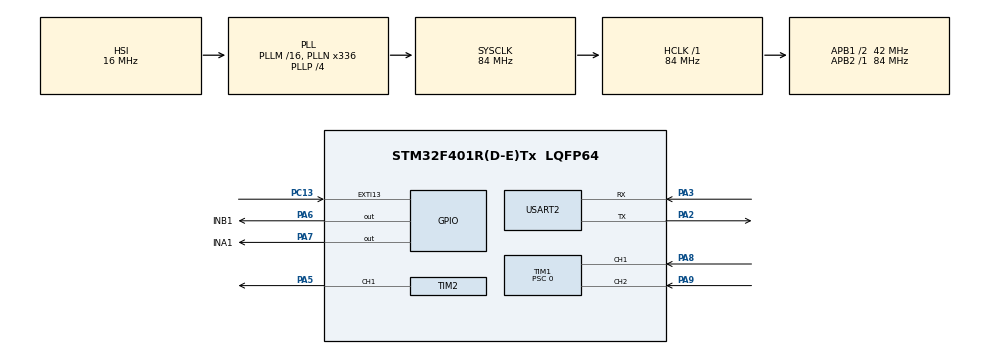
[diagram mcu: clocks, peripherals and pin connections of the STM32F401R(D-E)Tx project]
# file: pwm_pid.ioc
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Mcu.Family=STM32F4
Mcu.Name=STM32F401R(D-E)Tx
Mcu.Package=LQFP64
NVIC.PriorityGroup=NVIC_PRIORITYGROUP_0
NVIC.TIM1_BRK_TIM9_IRQn=true\:0\:0\:false\:false\:true\:true
NVIC.TIM1_CC_IRQn=true\:0\:0\:false\:false\:true\:true
NVIC.TIM1_TRG_COM_TIM11_IRQn=true\:0\:0\:false\:false\:true\:true
NVIC.TIM1_UP_TIM10_IRQn=true\:0\:0\:false\:false\:true\:true
NVIC.TIM3_IRQn=true\:0\:0\:false\:false\:true\:true
PA13.Mode=Serial_Wire
PA13.Signal=SYS_JTMS-SWDIO
PA14.Mode=Serial_Wire
PA14.Signal=SYS_JTCK-SWCLK
PA2.GPIO_Mode=GPIO_MODE_AF_PP
PA2.GPIO_PuPd=GPIO_PULLUP
PA2.GPIO_Speed=GPIO_SPEED_FREQ_VERY_HIGH
PA2.Mode=Asynchronous
PA2.Signal=USART2_TX
PA3.GPIO_Mode=GPIO_MODE_AF_PP
PA3.GPIO_PuPd=GPIO_PULLUP
PA3.GPIO_Speed=GPIO_SPEED_FREQ_VERY_HIGH
PA3.Mode=Asynchronous
PA3.Signal=USART2_RX
PA5.Signal=S_TIM2_CH1_ETR
PA6.GPIO_Label=INB1
PA6.Signal=GPIO_Output
PA7.GPIO_Label=INA1
PA7.Signal=GPIO_Output
PA8.GPIO_ModeDefaultPP=GPIO_MODE_AF_PP
PA8.GPIO_PuPd=GPIO_PULLUP
PA8.GPIO_Speed=GPIO_SPEED_FREQ_LOW
PA8.Signal=S_TIM1_CH1
PA9.GPIO_ModeDefaultPP=GPIO_MODE_AF_PP
PA9.GPIO_PuPd=GPIO_PULLUP
PA9.GPIO_Speed=GPIO_SPEED_FREQ_LOW
PA9.Signal=S_TIM1_CH2
PB3.Signal=SYS_JTDO-SWO
PC13-ANTI_TAMP.GPIO_ModeDefaultEXTI=GPIO_MODE_IT_RISING
PC13-ANTI_TAMP.GPIO_PuPd=GPIO_NOPULL
PC13-ANTI_TAMP.Signal=GPXTI13
PC14-OSC32_IN.Mode=LSE-External-Oscillator
PC14-OSC32_IN.Signal=RCC_OSC32_IN
PC15-OSC32_OUT.Mode=LSE-External-Oscillator
PC15-OSC32_OUT.Signal=RCC_OSC32_OUT
PH0\ -\ OSC_IN.Mode=HSE-External-Clock-Source
PH0\ -\ OSC_IN.Signal=RCC_OSC_IN
PH1\ -\ OSC_OUT.Mode=HSE-External-Clock-Source
PH1\ -\ OSC_OUT.Signal=RCC_OSC_OUT
ProjectManager.HeapSize=0x200
ProjectManager.StackSize=0x400
ProjectManager.TargetToolchain=TrueSTUDIO
RCC.48MHZClocksFreq_Value=48000000
RCC.AHBFreq_Value=84000000
RCC.APB1CLKDivider=RCC_HCLK_DIV2
RCC.APB1Freq_Value=42000000
RCC.APB1TimFreq_Value=84000000
RCC.APB2Freq_Value=84000000
RCC.APB2TimFreq_Value=84000000
RCC.CortexFreq_Value=84000000
RCC.HCLKFreq_Value=84000000
RCC.HSE_VALUE=8000000
RCC.HSI_VALUE=16000000
RCC.PLLN=336
RCC.PLLP=RCC_PLLP_DIV4
RCC.PLLQ=7
RCC.SYSCLKFreq_VALUE=84000000
RCC.SYSCLKSource=RCC_SYSCLKSOURCE_PLLCLK
RCC.VCOOutputFreq_Value=336000000
SH.S_TIM1_CH1.0=TIM1_CH1,Encoder_Interface
SH.S_TIM1_CH2.0=TIM1_CH2,Encoder_Interface
SH.S_TIM2_CH1_ETR.0=TIM2_CH1,PWM Generation1 CH1
TIM1.EncoderMode=TIM_ENCODERMODE_TI12
TIM1.IC2Filter=6
TIM1.Period=65535
TIM1.Prescaler=0
TIM2.Channel-PWM\ Generation1\ CH1=TIM_CHANNEL_1
TIM2.Period=1050
TIM2.Prescaler=3
TIM3.Period=4000
TIM3.Prescaler=21
USART2.VirtualMode=VM_ASYNC
VP_TIM3_VS_ClockSourceINT.Mode=Internal
board=NUCLEO-F401RE

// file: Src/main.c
/* USER CODE BEGIN Header */
/**
 ******************************************************************************
 * @file           : main.c
 * @brief          : Main program body
 ******************************************************************************
 ** This notice applies to any and all portions of this file
 * that are not between comment pairs USER CODE BEGIN and
 * USER CODE END. Other portions of this file, whether
 * inserted by the user or by software development tools
 * are owned by their respective copyright owners.
 *
 * COPYRIGHT(c) 2019 STMicroelectronics
 *
 * Redistribution and use in source and binary forms, with or without modification,
 * are permitted provided that the following conditions are met:
 *   1. Redistributions of source code must retain the above copyright notice,
 *      this list of conditions and the following disclaimer.
 *   2. Redistributions in binary form must reproduce the above copyright notice,
 *      this list of conditions and the following disclaimer in the documentation
 *      and/or other materials provided with the distribution.
 *   3. Neither the name of STMicroelectronics nor the names of its contributors
 *      may be used to endorse or promote products derived from this software
 *      without specific prior written permission.
 *
 * THIS SOFTWARE IS PROVIDED BY THE COPYRIGHT HOLDERS AND CONTRIBUTORS "AS IS"
 * AND ANY EXPRESS OR IMPLIED WARRANTIES, INCLUDING, BUT NOT LIMITED TO, THE
 * IMPLIED WARRANTIES OF MERCHANTABILITY AND FITNESS FOR A PARTICULAR PURPOSE ARE
 * DISCLAIMED. IN NO EVENT SHALL THE COPYRIGHT HOLDER OR CONTRIBUTORS BE LIABLE
 * FOR ANY DIRECT, INDIRECT, INCIDENTAL, SPECIAL, EXEMPLARY, OR CONSEQUENTIAL
 * DAMAGES (INCLUDING, BUT NOT LIMITED TO, PROCUREMENT OF SUBSTITUTE GOODS OR
 * SERVICES; LOSS OF USE, DATA, OR PROFITS; OR BUSINESS INTERRUPTION) HOWEVER
 * CAUSED AND ON ANY THEORY OF LIABILITY, WHETHER IN CONTRACT, STRICT LIABILITY,
 * OR TORT (INCLUDING NEGLIGENCE OR OTHERWISE) ARISING IN ANY WAY OUT OF THE USE
 * OF THIS SOFTWARE, EVEN IF ADVISED OF THE POSSIBILITY OF SUCH DAMAGE.
 *
 ******************************************************************************
 */
/* USER CODE END Header */

#include "main.h"
#include "tim.h"
#include "usart.h"
#include "gpio.h"

/* USER CODE BEGIN Includes */
#include "parser.h"
/* USER CODE END Includes */

/* USER CODE BEGIN PD */
#define DIRECTION_CW 1
#define DIRECTION_CCW 0
#define DEG_TO_INC_COEFF 9.977333
#define INC_TO_DEG_COEFF 0.1002271816
#define ERROR_TOLERANCE_INC 10
#define DEFAULT_ENC_COUNTER_VALUE 20000
/* USER CODE END PD */

/* USER CODE BEGIN PV */
static volatile int32_t position = 0;
static volatile int32_t error = 0;
static volatile int32_t reference = 3592;
static volatile int32_t u = 0;
static volatile int32_t ui = 0; //Integration part of control
static volatile uint8_t direction = DIRECTION_CW;
static volatile uint8_t prev_direction = DIRECTION_CW;
static const float Ts = 0.001; //Sampling period
static volatile const float kp = 0.6;
static volatile const float Ti = 1000.0;
static volatile float ki = 0;
static float angle = 720.0;
static const unsigned int pwm_period = 1050;

static uint8_t finish_flag = 0;
/* USER CODE END PV */

void SystemClock_Config(void);
/* USER CODE BEGIN PFP */
void dc_set_direction(uint8_t direction);

/* USER CODE END PFP */

int main(void)
{

  /* MCU Configuration--------------------------------------------------------*/

  /* Reset of all peripherals, Initializes the Flash interface and the Systick. */
  HAL_Init();

  /* Configure the system clock */
  SystemClock_Config();

  /* Initialize all configured peripherals */
  MX_GPIO_Init();
  MX_USART2_UART_Init();
  MX_TIM1_Init();
  MX_TIM3_Init();
  MX_TIM2_Init();
  /* USER CODE BEGIN 2 */
	HAL_TIM_Encoder_Start(&htim1, TIM_CHANNEL_1);
	HAL_TIM_Encoder_Start(&htim1, TIM_CHANNEL_2);
	HAL_TIM_PWM_Start(&htim2, TIM_CHANNEL_1);

	// Set Encoder count to middle value
	TIM1->CNT = DEFAULT_ENC_COUNTER_VALUE;

	ki = 0;	//kp / Ti;

	//Enable regulation interrupt
	HAL_TIM_Base_Start_IT(&htim3);
  /* USER CODE END 2 */

  /* Infinite loop */
  /* USER CODE BEGIN WHILE */
	char p[30] = "";
	char a[30] = "";
	char c[30] = "";

	uint8_t uart_receive_buff[50];
	uint8_t uart_rec_buff_offset = 0;
	uint8_t msg[20] = ""; // @TODO Delete later

	reference = (int32_t) (angle * DEG_TO_INC_COEFF);

	for (int i = 0; i < 50; i++)
	{
		uart_receive_buff[i] = 0;
	}

//	__HAL_TIM_SetCompare(&htim2, TIM_CHANNEL_1, 500);

//	HAL_GPIO_WritePin(GPIOA, INA1_Pin, GPIO_PIN_RESET);
//	HAL_GPIO_WritePin(GPIOA, INB1_Pin, GPIO_PIN_SET);

	while (1)
	{

		/*
		 HAL_UART_Transmit(&huart2, &primer, sizeof(primer), 50);
		 HAL_Delay(1000);
		 */

		snprintf(p, sizeof(p), "\n\ru: %d", u);
		HAL_UART_Transmit(&huart2, p, sizeof(p), 50);
		snprintf(a, sizeof(a), "\n\r%f", ((float) error * INC_TO_DEG_COEFF));
		HAL_UART_Transmit(&huart2, a, sizeof(a), 50);
		snprintf(c, sizeof(c), "\n\rcnt: %d", TIM1->CNT);
		HAL_UART_Transmit(&huart2, c, sizeof(c), 50);

		HAL_Delay(200);
		/*
		 if (HAL_UART_Receive(&huart2, uart_receive_buff + uart_rec_buff_offset,
		 1, 20) == HAL_OK) {

		 HAL_UART_Transmit(&huart2, uart_receive_buff + uart_rec_buff_offset,
		 1, 50);

		 if (uart_receive_buff[uart_rec_buff_offset] == '\n') {

		 uart_receive_buff[uart_rec_buff_offset] = '\0';
		 //msg_parse(uart_receive_buff);
		 strcpy(msg, uart_receive_buff);
		 uart_rec_buff_offset = 0;
		 //HAL_UART_Transmit(&huart2, msg, sizeof(msg), 50);

		 }

		 else
		 uart_rec_buff_offset++;
		 }
		 */
		//HAL_UART_Transmit(&huart2, p, sizeof(p), 50);
		//HAL_UART_Transmit(&huart2, p, sizeof(p), 50);
		//__HAL_TIM_SetCompare(&htim2, TIM_CHANNEL_1, 0);
		//test this
		/*
		 cnts = __HAL_TIM_GET_COUNTER(&htim1);

		 if (cnts != cnts_old) {
		 snprintf(p, sizeof(p), "cnts: %d\n\r", cnts);

		 HAL_UART_Transmit(&huart2, p, strlen(p), 50);

		 cnts_old = cnts;
		 }
		 HAL_Delay(200);
		 */

    /* USER CODE END WHILE */

	}
}

void SystemClock_Config(void)
{
  RCC_OscInitTypeDef RCC_OscInitStruct = {0};
  RCC_ClkInitTypeDef RCC_ClkInitStruct = {0};

  /**Configure the main internal regulator output voltage
  */
  __HAL_RCC_PWR_CLK_ENABLE();
  __HAL_PWR_VOLTAGESCALING_CONFIG(PWR_REGULATOR_VOLTAGE_SCALE2);
  /**Initializes the CPU, AHB and APB busses clocks
  */
  RCC_OscInitStruct.OscillatorType = RCC_OSCILLATORTYPE_HSI;
  RCC_OscInitStruct.HSIState = RCC_HSI_ON;
  RCC_OscInitStruct.HSICalibrationValue = RCC_HSICALIBRATION_DEFAULT;
  RCC_OscInitStruct.PLL.PLLState = RCC_PLL_ON;
  RCC_OscInitStruct.PLL.PLLSource = RCC_PLLSOURCE_HSI;
  RCC_OscInitStruct.PLL.PLLM = 16;
  RCC_OscInitStruct.PLL.PLLN = 336;
  RCC_OscInitStruct.PLL.PLLP = RCC_PLLP_DIV4;
  RCC_OscInitStruct.PLL.PLLQ = 7;
  if (HAL_RCC_OscConfig(&RCC_OscInitStruct) != HAL_OK)
  {
    Error_Handler();
  }
  /**Initializes the CPU, AHB and APB busses clocks
  */
  RCC_ClkInitStruct.ClockType = RCC_CLOCKTYPE_HCLK|RCC_CLOCKTYPE_SYSCLK
                              |RCC_CLOCKTYPE_PCLK1|RCC_CLOCKTYPE_PCLK2;
  RCC_ClkInitStruct.SYSCLKSource = RCC_SYSCLKSOURCE_PLLCLK;
  RCC_ClkInitStruct.AHBCLKDivider = RCC_SYSCLK_DIV1;
  RCC_ClkInitStruct.APB1CLKDivider = RCC_HCLK_DIV2;
  RCC_ClkInitStruct.APB2CLKDivider = RCC_HCLK_DIV1;

  if (HAL_RCC_ClockConfig(&RCC_ClkInitStruct, FLASH_LATENCY_2) != HAL_OK)
  {
    Error_Handler();
  }
}

/* USER CODE BEGIN 4 */

#define DIR_CHANGE_VALUES_QUANTITY 3

void HAL_TIM_PeriodElapsedCallback(TIM_HandleTypeDef *htim)
{

	const uint8_t dir_change_val_quantity = DIR_CHANGE_VALUES_QUANTITY;
	static uint8_t dir_changing_flag = 0;
	static uint8_t dir_change_counter = 0;
	static uint16_t encoder_values[DIR_CHANGE_VALUES_QUANTITY];
	static int temp=0;

	if (htim->Instance == TIM3)
	{

/*
		int32_t count = 0;

		count = __HAL_TIM_GET_COUNTER(&htim1);
		__HAL_TIM_SET_COUNTER(&htim1, DEFAULT_ENC_COUNTER_VALUE);

		count = count - DEFAULT_ENC_COUNTER_VALUE;
		position += count;

//		if (dir_changing_flag == 0)
//		{

		error = reference - position;

		ui = ui + (int32_t) (ki * Ts * error);

		//ud = kd * (e - e_previous) / Ts;

		if (ui > 200)
			ui = 200;

		u = (int32_t) (kp * error);// + ui;

		if (abs(u) < 30)
		{
			u = 0;
			finish_flag = 1;
		}

//		}

		// Direction
//		 if (u < 0)
//		 HAL_GPIO_WritePin(GPIOA, GPIO_PIN_6, GPIO_PIN_SET);
//		 else if (u > 0)
//		 HAL_GPIO_WritePin(GPIOA, GPIO_PIN_6, GPIO_PIN_RESET);
//		 //if (abs(error) > ERROR_TOLERANCE_INC)

		 if (u < 0)
		 {
		 direction = DIRECTION_CW;
		 if (direction != prev_direction)
		 {
		 dir_changing_flag = 1;
		 // Break
		 // @TODO: Make a function for break, for DC Motor drivers
		 u = 0;
		 }
		 }

		 else if (u > 0)
		 {
		 direction = DIRECTION_CCW;
		 if (direction != prev_direction)
		 {
		 dir_changing_flag = 1;
		 // Break
		 // @TODO: Make a function for break, for DC Motor drivers
		 u = 0;
		 }
		 }

		 // Wait for motor to be steady if changing direction
		 if (dir_changing_flag == 1)
		 {
		 // Get encoder values, and end stopping when they all are equal
		 encoder_values[dir_change_counter++] = __HAL_TIM_GET_COUNTER(
		 &htim1);
		 if (dir_change_counter == dir_change_val_quantity)
		 {
		 for (uint8_t i = 0; i < dir_change_val_quantity-1; i++)
		 {
		 if(encoder_values[i] != encoder_values[i+1])
		 {
		 dir_change_counter = 0;
		 }
		 }
		 // If all of them are equal (dir_change_counter didn't drop to 0)
		 if(dir_change_counter == dir_change_val_quantity)
		 {
		 dir_changing_flag = 0;	// Motor is stable, and new pwm can be calculated

		 dc_set_direction(direction);
		 //@TODO: Change direction!
		 }
		 }
		 }

		if (u < 0)
		{
			u = u * -1;

		}

		if (abs(u) > 1050)
					u = 1050;

		__HAL_TIM_SetCompare(&htim2, TIM_CHANNEL_1, u);

		//prev_direction = direction;
*/

		HAL_GPIO_WritePin(GPIOA, INA1_Pin, GPIO_PIN_RESET);
		HAL_GPIO_WritePin(GPIOA, INB1_Pin, GPIO_PIN_SET);
		int32_t count = 0;

		//count = __HAL_TIM_GET_COUNTER(&htim1);
		//__HAL_TIM_SET_COUNTER(&htim1, 0);

		count = __HAL_TIM_GET_COUNTER(&htim1);
		__HAL_TIM_SET_COUNTER(&htim1, DEFAULT_ENC_COUNTER_VALUE);

		count = count - DEFAULT_ENC_COUNTER_VALUE;

		//TIM1->CNT = 0;

		position += count;

		//snprintf(p, sizeof(p), "\n\r%d", error);
		//HAL_UART_Transmit(&huart2, p, sizeof(p), 50);

		error = reference - position;

		ui = ui + (int32_t) (ki * Ts * error);

		if (ui > 200)
			ui = 200;

		u = (int32_t) (kp * error) + ui;

		if (u > 500)
			u = 500;

		if (u < 30) {
			u = 0;
			finish_flag = 1;
		}
/*
		// Direction
		if (u < 0)
			HAL_GPIO_WritePin(GPIOA, GPIO_PIN_6, GPIO_PIN_SET);
		else if (u > 0)
			HAL_GPIO_WritePin(GPIOA, GPIO_PIN_6, GPIO_PIN_RESET);
			*/
		//if (abs(error) > ERROR_TOLERANCE_INC)
__HAL_TIM_SetCompare(&htim2, TIM_CHANNEL_1, abs(u));
	}

}

void dc_set_direction(uint8_t direction)
{
	if (direction == DIRECTION_CW)
	{
		HAL_GPIO_WritePin(GPIOA, INA1_Pin, GPIO_PIN_SET); 	//Set INA1 pin
		HAL_GPIO_WritePin(GPIOA, INB1_Pin, GPIO_PIN_RESET);	//Reset INB1 pin
	}
	else
	{
		HAL_GPIO_WritePin(GPIOA, INA1_Pin, GPIO_PIN_RESET); //Reset INA1 pin
		HAL_GPIO_WritePin(GPIOA, INB1_Pin, GPIO_PIN_SET); 	//Set INB1 pin

	}
}

/* USER CODE END 4 */

void Error_Handler(void)
{
}

/************************ (C) COPYRIGHT STMicroelectronics *****END OF FILE****/
